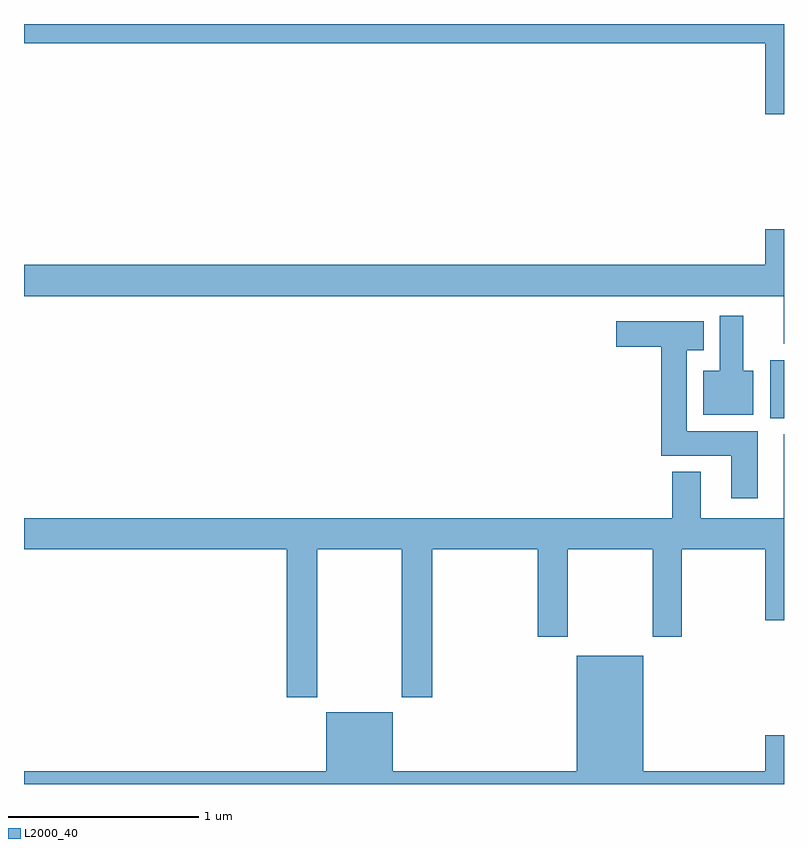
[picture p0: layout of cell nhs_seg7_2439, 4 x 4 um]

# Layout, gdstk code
import gdstk
lib = gdstk.Library(unit=1e-6, precision=1e-09)
def R(c, l, rs):  # rectangles x0, y0, x1, y1
    for r in rs: c.add(gdstk.rectangle(r[:2], r[2:], *l))
def P(c, l, *ps):  # polygons
    for p in ps: c.add(gdstk.Polygon(p, *l))
L2000_40 = (2000, 40)

nhs_seg7_2439 = lib.new_cell('nhs_seg7_2439')
R(nhs_seg7_2439, L2000_40, [(272.927,1047.926,273,1048.231)])
P(nhs_seg7_2439, L2000_40, [(273,1050),(269,1050),(269,1049.9),(272.9,1049.9),(272.9,1049.526),(273,1049.526)],
  [(273,1048.921),(272.9,1048.921),(272.9,1048.732),(269,1048.732),(269,1048.568),(272.999,1048.568),(272.999,1048.316),(273,1048.316)],
  [(272.839,1048.174),(272.785,1048.174),(272.785,1048.465),(272.663,1048.465),(272.663,1048.174),(272.576,1048.174),(272.576,1047.944),(272.839,1047.944)],
  [(272.863,1047.856),(272.488,1047.856),(272.488,1048.283),(272.578,1048.283),(272.578,1048.435),(272.118,1048.435),(272.118,1048.301),(272.354,1048.301),(272.354,1047.728),(272.723,1047.728),(272.723,1047.504),(272.863,1047.504)],
  [(269,1047.236),(270.383,1047.236),(270.383,1046.457),(270.543,1046.457),(270.543,1047.236),(270.988,1047.236),(270.988,1046.457),(271.148,1046.457),(271.148,1047.236),(271.703,1047.236),(271.703,1046.775),(271.863,1046.775),(271.863,1047.236),(272.308,1047.236),(272.308,1046.775),(272.463,1046.775),(272.463,1047.236),(272.9,1047.236),(272.9,1046.862),(273,1046.862),(273,1047.841),(272.999,1047.841),(272.999,1047.4),(272.563,1047.4),(272.563,1047.643),(272.411,1047.643),(272.411,1047.4),(269,1047.4)],
  [(269,1046),(273,1046),(273,1046.257),(272.9,1046.257),(272.9,1046.068),(272.26,1046.068),(272.26,1046.674),(271.91,1046.674),(271.91,1046.068),(270.94,1046.068),(270.94,1046.377),(270.59,1046.377),(270.59,1046.068),(269,1046.068)])

lib.write_gds('nhs_seg7_2439.gds')
